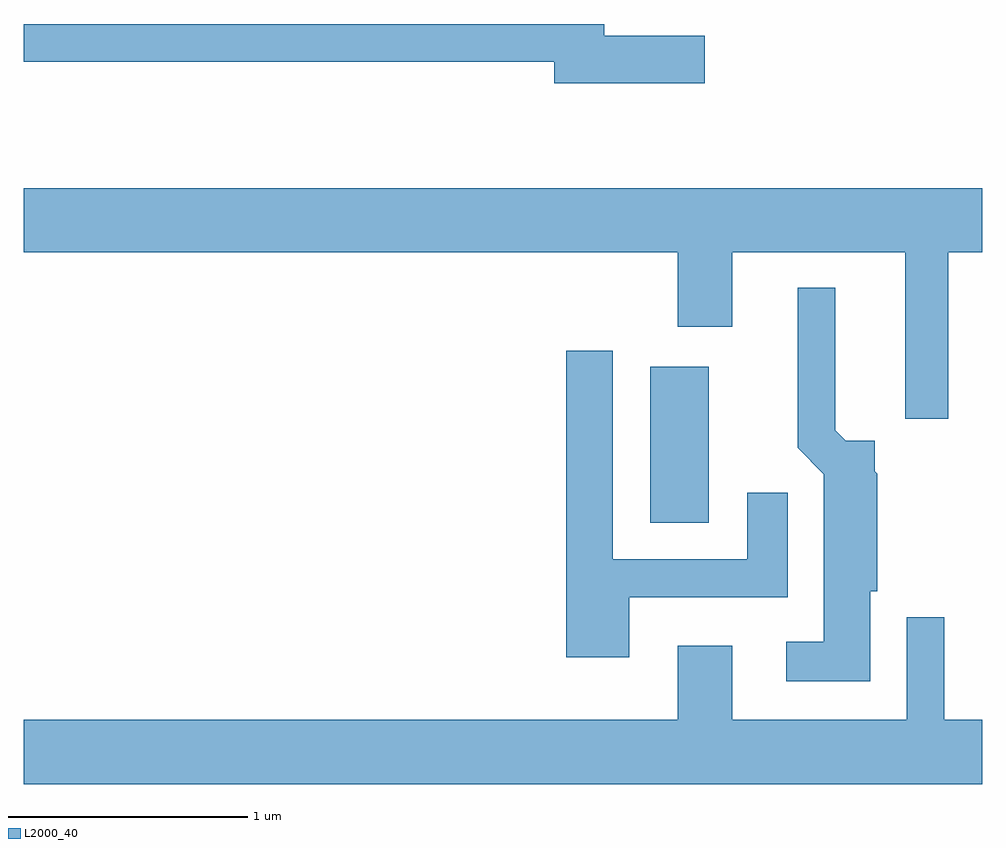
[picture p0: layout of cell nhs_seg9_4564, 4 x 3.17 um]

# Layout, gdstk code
import gdstk
lib = gdstk.Library(unit=1e-6, precision=1e-09)
def R(c, l, rs):  # rectangles x0, y0, x1, y1
    for r in rs: c.add(gdstk.rectangle(r[:2], r[2:], *l))
def P(c, l, *ps):  # polygons
    for p in ps: c.add(gdstk.Polygon(p, *l))
L2000_40 = (2000, 40)

nhs_seg9_4564 = lib.new_cell('nhs_seg9_4564')
R(nhs_seg9_4564, L2000_40, [(322.226,2001.786,322.469,2002.439)])
P(nhs_seg9_4564, L2000_40, [(322.454,2003.819),(322.034,2003.819),(322.034,2003.869),(319.611,2003.869),(319.611,2003.711),(321.826,2003.711),(321.826,2003.621),(322.454,2003.621)],
  [(323.469,2002.916),(323.611,2002.916),(323.611,2003.184),(319.611,2003.184),(319.611,2002.916),(322.341,2002.916),(322.341,2002.606),(322.569,2002.606),(322.569,2002.916),(323.291,2002.916),(323.291,2002.221),(323.469,2002.221)],
  [(323.144,2001.501),(323.174,2001.501),(323.174,2001.991),(323.164,2002.001),(323.164,2002.129),(323.042,2002.129),(322.999,2002.172),(322.999,2002.768),(322.841,2002.768),(322.841,2002.099),(322.951,2001.989),(322.951,2001.289),(322.793,2001.289),(322.793,2001.126),(323.144,2001.126)],
  [(322.139,2001.476),(322.799,2001.476),(322.799,2001.913),(322.631,2001.913),(322.631,2001.634),(322.069,2001.634),(322.069,2002.504),(321.876,2002.504),(321.876,2001.226),(322.139,2001.226)],
  [(323.611,2000.964),(323.454,2000.964),(323.454,2001.393),(323.296,2001.393),(323.296,2000.964),(322.569,2000.964),(322.569,2001.274),(322.341,2001.274),(322.341,2000.964),(319.611,2000.964),(319.611,2000.696),(323.611,2000.696)])

lib.write_gds('nhs_seg9_4564.gds')
